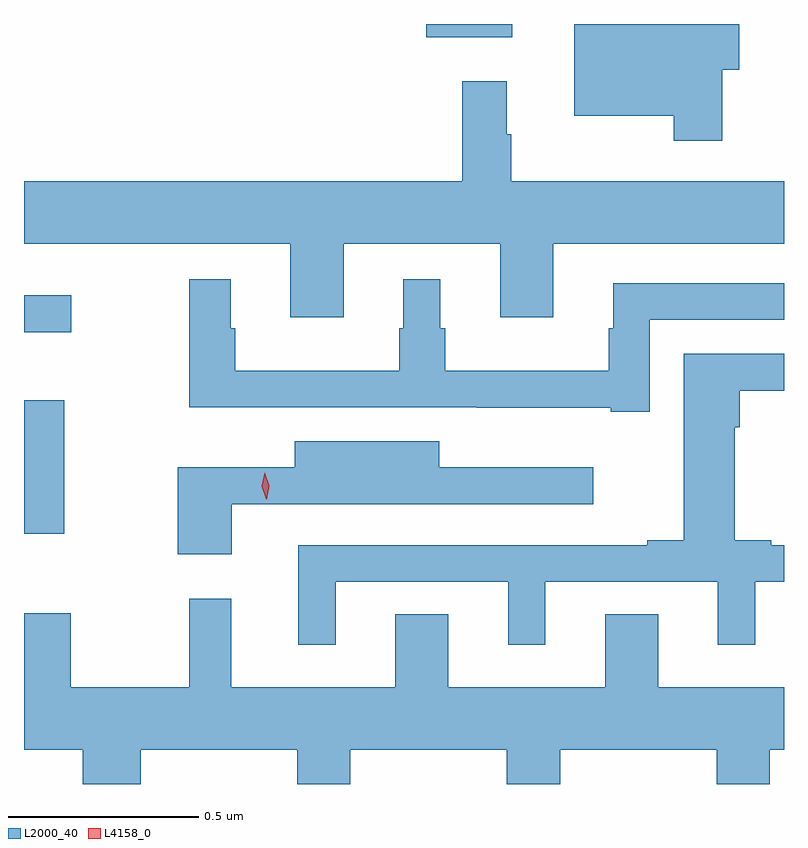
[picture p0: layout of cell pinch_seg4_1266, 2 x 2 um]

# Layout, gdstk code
import gdstk
lib = gdstk.Library(unit=1e-6, precision=1e-09)
def R(c, l, rs):  # rectangles x0, y0, x1, y1
    for r in rs: c.add(gdstk.rectangle(r[:2], r[2:], *l))
def P(c, l, *ps):  # polygons
    for p in ps: c.add(gdstk.Polygon(p, *l))
L2000_40 = (2000, 40)
L4158_0 = (4158, 0)

pinch_seg4_1266 = lib.new_cell('pinch_seg4_1266')
R(pinch_seg4_1266, L2000_40, [(159.624,817.368,159.73,817.72), (159.624,817.899,159.748,817.996), (160.682,818.675,160.909,818.71)])
P(pinch_seg4_1266, L2000_40, [(161.462,818.59),(161.506,818.59),(161.506,818.71),(161.072,818.71),(161.072,818.468),(161.334,818.468),(161.334,818.403),(161.462,818.403)],
  [(160.777,818.56),(160.777,818.296),(159.624,818.296),(159.624,818.132),(160.325,818.132),(160.325,817.938),(160.465,817.938),(160.465,818.132),(160.877,818.132),(160.877,817.938),(161.017,817.938),(161.017,818.132),(161.624,818.132),(161.624,818.296),(160.906,818.296),(160.906,818.42),(160.894,818.42),(160.894,818.56)],
  [(161.271,817.932),(161.624,817.932),(161.624,818.028),(161.174,818.028),(161.174,817.91),(161.163,817.91),(161.163,817.798),(160.732,817.798),(160.732,817.91),(160.72,817.91),(160.72,818.038),(160.622,818.038),(160.622,817.91),(160.611,817.91),(160.611,817.798),(160.18,817.798),(160.18,817.91),(160.168,817.91),(160.168,818.038),(160.059,818.038),(160.059,817.701),(160.816,817.701),(160.816,817.7),(161.168,817.7),(161.168,817.689),(161.271,817.689)],
  [(160.444,817.242),(160.898,817.242),(160.898,817.077),(160.996,817.077),(160.996,817.242),(161.45,817.242),(161.45,817.077),(161.548,817.077),(161.548,817.242),(161.624,817.242),(161.624,817.338),(161.59,817.338),(161.59,817.351),(161.494,817.351),(161.494,817.649),(161.507,817.649),(161.507,817.745),(161.624,817.745),(161.624,817.842),(161.36,817.842),(161.36,817.351),(161.264,817.351),(161.264,817.338),(160.346,817.338),(160.346,817.077),(160.444,817.077)],
  [(160.171,817.446),(161.122,817.446),(161.122,817.543),(160.717,817.543),(160.717,817.612),(160.337,817.612),(160.337,817.543),(160.028,817.543),(160.028,817.314),(160.171,817.314)],
  [(159.931,816.8),(160.343,816.8),(160.343,816.71),(160.483,816.71),(160.483,816.8),(160.895,816.8),(160.895,816.71),(161.035,816.71),(161.035,816.8),(161.447,816.8),(161.447,816.71),(161.587,816.71),(161.587,816.8),(161.624,816.8),(161.624,816.964),(161.293,816.964),(161.293,817.157),(161.153,817.157),(161.153,816.964),(160.741,816.964),(160.741,817.157),(160.601,817.157),(160.601,816.964),(160.169,816.964),(160.169,817.198),(160.059,817.198),(160.059,816.964),(159.747,816.964),(159.747,817.159),(159.624,817.159),(159.624,816.8),(159.779,816.8),(159.779,816.71),(159.931,816.71)])
P(pinch_seg4_1266, L4158_0, [(160.262,817.459),(160.25,817.493),(160.257,817.529),(160.257,817.529),(160.258,817.529),(160.27,817.495),(160.263,817.459),(160.263,817.459)])

lib.write_gds('pinch_seg4_1266.gds')
